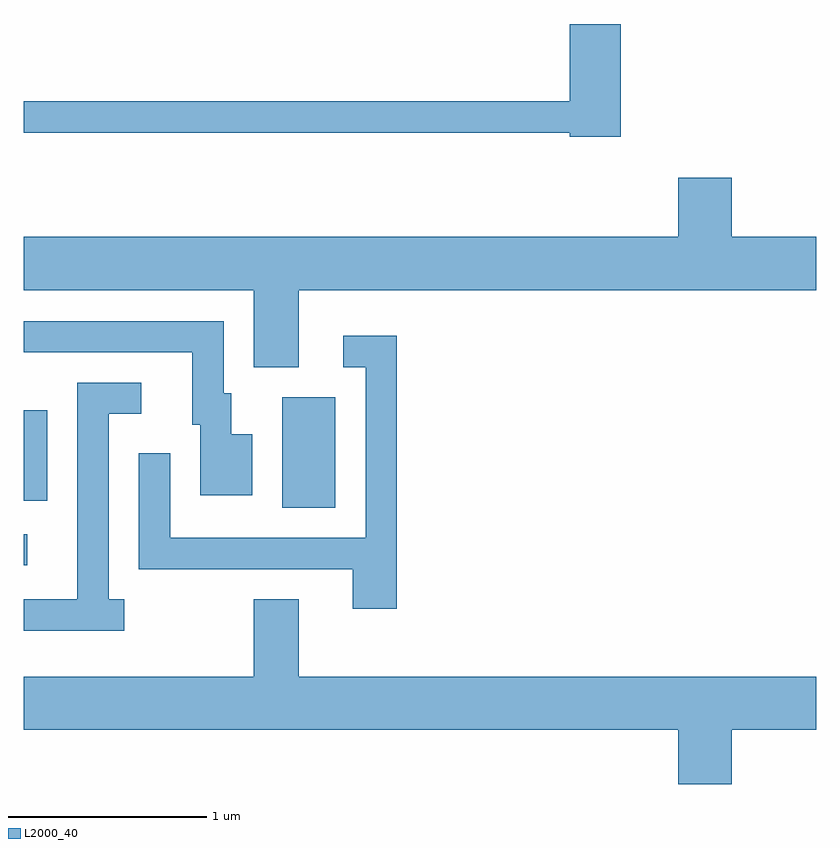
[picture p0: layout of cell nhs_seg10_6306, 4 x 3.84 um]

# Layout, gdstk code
import gdstk
lib = gdstk.Library(unit=1e-6, precision=1e-09)
def R(c, l, rs):  # rectangles x0, y0, x1, y1
    for r in rs: c.add(gdstk.rectangle(r[:2], r[2:], *l))
def P(c, l, *ps):  # polygons
    for p in ps: c.add(gdstk.Polygon(p, *l))
L2000_40 = (2000, 40)

nhs_seg10_6306 = lib.new_cell('nhs_seg10_6306')
R(nhs_seg10_6306, L2000_40, [(371.611,2123.626,371.628,2123.784), (372.916,2123.916,373.184,2124.474), (371.611,2123.951,371.729,2124.409)])
P(nhs_seg10_6306, L2000_40, [(374.624,2126.359),(374.366,2126.359),(374.366,2125.969),(371.611,2125.969),(371.611,2125.811),(374.366,2125.811),(374.366,2125.791),(374.624,2125.791)],
  [(372.999,2125.016),(375.611,2125.016),(375.611,2125.284),(375.184,2125.284),(375.184,2125.584),(374.916,2125.584),(374.916,2125.284),(371.611,2125.284),(371.611,2125.016),(372.771,2125.016),(372.771,2124.626),(372.999,2124.626)],
  [(372.764,2124.289),(372.659,2124.289),(372.659,2124.494),(372.619,2124.494),(372.619,2124.859),(371.611,2124.859),(371.611,2124.701),(372.461,2124.701),(372.461,2124.336),(372.501,2124.336),(372.501,2123.981),(372.764,2123.981)],
  [(373.494,2124.784),(373.223,2124.784),(373.223,2124.626),(373.336,2124.626),(373.336,2123.764),(372.349,2123.764),(372.349,2124.193),(372.191,2124.193),(372.191,2123.606),(373.271,2123.606),(373.271,2123.406),(373.494,2123.406)],
  [(372.118,2123.454),(372.039,2123.454),(372.039,2124.391),(372.203,2124.391),(372.203,2124.549),(371.881,2124.549),(371.881,2123.454),(371.611,2123.454),(371.611,2123.296),(372.118,2123.296)],
  [(375.184,2122.796),(375.611,2122.796),(375.611,2123.064),(372.999,2123.064),(372.999,2123.454),(372.771,2123.454),(372.771,2123.064),(371.611,2123.064),(371.611,2122.796),(374.916,2122.796),(374.916,2122.522),(375.184,2122.522)])

lib.write_gds('nhs_seg10_6306.gds')
